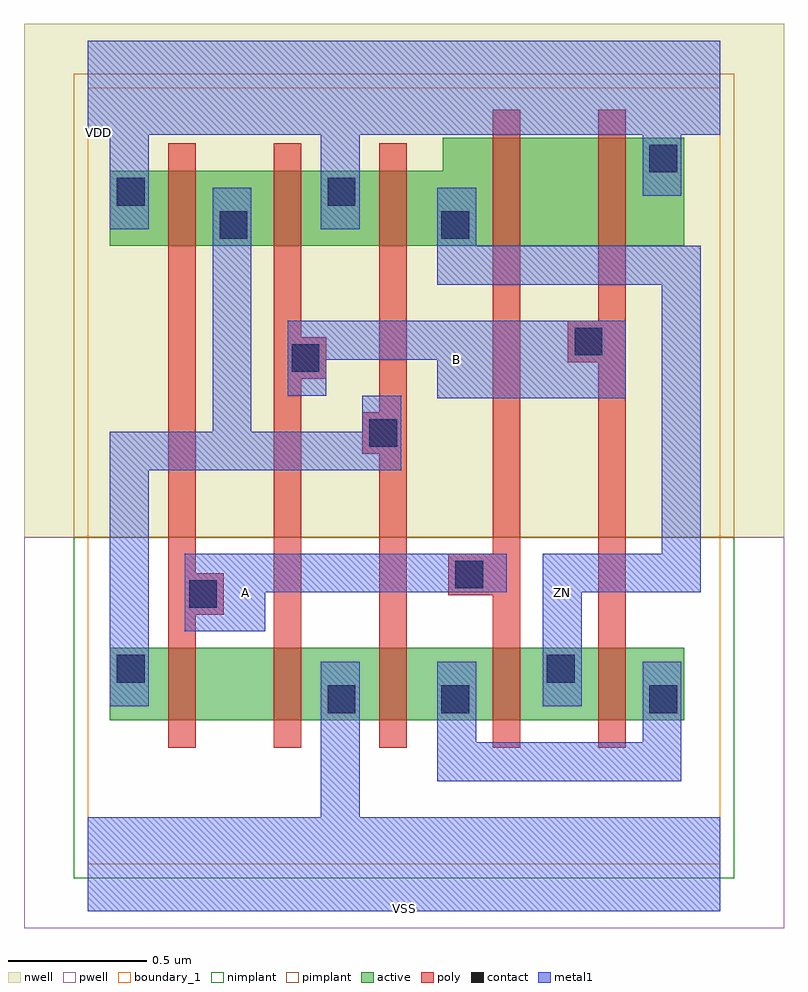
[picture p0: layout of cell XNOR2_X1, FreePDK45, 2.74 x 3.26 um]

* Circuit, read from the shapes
.subckt XNOR2_X1 A B VDD VSS ZN
M1 n1 A n2 VSUBS nfet w=0.26u l=0.1u
M2 VSS B n1 VSUBS nfet w=0.26u l=0.1u
M3 n3 n2 VSS VSUBS nfet w=0.26u l=0.1u
M4 ZN A n3 VSUBS nfet w=0.26u l=0.1u
M5 n3 B ZN VSUBS nfet w=0.26u l=0.1u
M6 n2 A VDD n4 pfet w=0.27u l=0.1u
M7 VDD B n2 n4 pfet w=0.27u l=0.1u
M8 ZN n2 VDD n4 pfet w=0.27u l=0.1u
M9 n5 A ZN n4 pfet w=0.39u l=0.1u
M10 VDD B n5 n4 pfet w=0.39u l=0.1u
.ends

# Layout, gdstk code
import gdstk
lib = gdstk.Library(unit=1e-6, precision=1e-09)
def R(c, l, rs):  # rectangles x0, y0, x1, y1
    for r in rs: c.add(gdstk.rectangle(r[:2], r[2:], *l))
def P(c, l, *ps):  # polygons
    for p in ps: c.add(gdstk.Polygon(p, *l))
active = (1, 0)
pwell = (2, 0)
nwell = (3, 0)
nimplant = (4, 0)
pimplant = (5, 0)
poly = (9, 0)
contact = (10, 0)
metal1 = (11, 0)
boundary_1 = (235, 1)

xnor2_x1 = lib.new_cell('XNOR2_X1')
R(xnor2_x1, active, [(0.08,0.52,2.15,0.78)])
P(xnor2_x1, active, [(0.08,2.23),(2.15,2.23),(2.15,2.62),(1.28,2.62),(1.28,2.5),(0.08,2.5)])
R(xnor2_x1, pwell, [(-0.23,-0.23,2.51,1.18)])
R(xnor2_x1, nwell, [(-0.23,1.18,2.51,3.03)])
R(xnor2_x1, nimplant, [(-0.05,-0.05,2.33,1.18)])
R(xnor2_x1, pimplant, [(-0.05,1.18,2.33,2.85)])
P(xnor2_x1, poly, [(1.73,1.81),(1.84,1.81),(1.84,0.42),(1.94,0.42),(1.94,2.72),(1.84,2.72),(1.84,1.96),(1.73,1.96)],
  [(1.3,0.97),(1.46,0.97),(1.46,0.42),(1.56,0.42),(1.56,2.72),(1.46,2.72),(1.46,1.12),(1.3,1.12)],
  [(0.99,1.48),(1.05,1.48),(1.05,0.42),(1.15,0.42),(1.15,2.6),(1.05,2.6),(1.05,1.63),(0.99,1.63)],
  [(0.67,0.42),(0.77,0.42),(0.77,1.75),(0.86,1.75),(0.86,1.9),(0.77,1.9),(0.77,2.6),(0.67,2.6)],
  [(0.29,0.42),(0.39,0.42),(0.39,0.9),(0.49,0.9),(0.49,1.05),(0.39,1.05),(0.39,2.6),(0.29,2.6)])
R(xnor2_x1, contact, [(0.865,0.545,0.965,0.645), (1.275,0.545,1.375,0.645), (2.025,0.545,2.125,0.645), (0.105,0.655,0.205,0.755), (1.655,0.655,1.755,0.755), (0.365,0.925,0.465,1.025), (1.325,0.995,1.425,1.095), (1.015,1.505,1.115,1.605), (0.735,1.775,0.835,1.875), (1.755,1.835,1.855,1.935), (0.475,2.255,0.575,2.355), (1.275,2.255,1.375,2.355), (0.105,2.375,0.205,2.475), (0.865,2.375,0.965,2.475), (2.025,2.495,2.125,2.595)])
P(xnor2_x1, metal1, [(1.26,2.09),(2.07,2.09),(2.07,1.12),(1.64,1.12),(1.64,0.57),(1.78,0.57),(1.78,0.98),(2.21,0.98),(2.21,2.23),(1.4,2.23),(1.4,2.44),(1.26,2.44)],
  [(0.72,1.69),(0.86,1.69),(0.86,1.82),(1.26,1.82),(1.26,1.68),(1.94,1.68),(1.94,1.96),(0.72,1.96)],
  [(0,-0.17),(2.28,-0.17),(2.28,0.17),(0.98,0.17),(0.98,0.73),(0.84,0.73),(0.84,0.17),(0,0.17)],
  [(0,2.63),(0.08,2.63),(0.08,2.29),(0.22,2.29),(0.22,2.63),(0.84,2.63),(0.84,2.29),(0.98,2.29),(0.98,2.63),(2,2.63),(2,2.41),(2.14,2.41),(2.14,2.63),(2.28,2.63),(2.28,2.97),(0,2.97)],
  [(0.35,0.84),(0.64,0.84),(0.64,0.98),(1.51,0.98),(1.51,1.12),(0.35,1.12)],
  [(0,2.63),(0.08,2.63),(0.08,2.29),(0.22,2.29),(0.22,2.63),(0.84,2.63),(0.84,2.29),(0.98,2.29),(0.98,2.63),(2,2.63),(2,2.41),(2.14,2.41),(2.14,2.63),(2.28,2.63),(2.28,2.97),(0,2.97)],
  [(0,-0.17),(2.28,-0.17),(2.28,0.17),(0.98,0.17),(0.98,0.73),(0.84,0.73),(0.84,0.17),(0,0.17)],
  [(1.26,2.09),(2.07,2.09),(2.07,1.12),(1.64,1.12),(1.64,0.57),(1.78,0.57),(1.78,0.98),(2.21,0.98),(2.21,2.23),(1.4,2.23),(1.4,2.44),(1.26,2.44)],
  [(1.26,0.3),(2.14,0.3),(2.14,0.73),(2,0.73),(2,0.44),(1.4,0.44),(1.4,0.73),(1.26,0.73)],
  [(0.72,1.69),(0.86,1.69),(0.86,1.82),(1.26,1.82),(1.26,1.68),(1.94,1.68),(1.94,1.96),(0.72,1.96)],
  [(0.35,0.84),(0.64,0.84),(0.64,0.98),(1.51,0.98),(1.51,1.12),(0.35,1.12)],
  [(0.08,0.57),(0.22,0.57),(0.22,1.42),(1.13,1.42),(1.13,1.69),(0.99,1.69),(0.99,1.56),(0.59,1.56),(0.59,2.44),(0.45,2.44),(0.45,1.56),(0.08,1.56)])
R(xnor2_x1, boundary_1, [(0,0,2.28,2.8)])
xnor2_x1.add(gdstk.Label('ZN', (1.71,0.98), layer=11, texttype=0))
xnor2_x1.add(gdstk.Label('VSS', (1.14,-0.16), layer=11, texttype=0))
xnor2_x1.add(gdstk.Label('VDD', (0.04,2.64), layer=11, texttype=0))
xnor2_x1.add(gdstk.Label('B', (1.33,1.82), layer=11, texttype=0))
xnor2_x1.add(gdstk.Label('A', (0.57,0.98), layer=11, texttype=0))

lib.write_gds('XNOR2_X1.gds')
